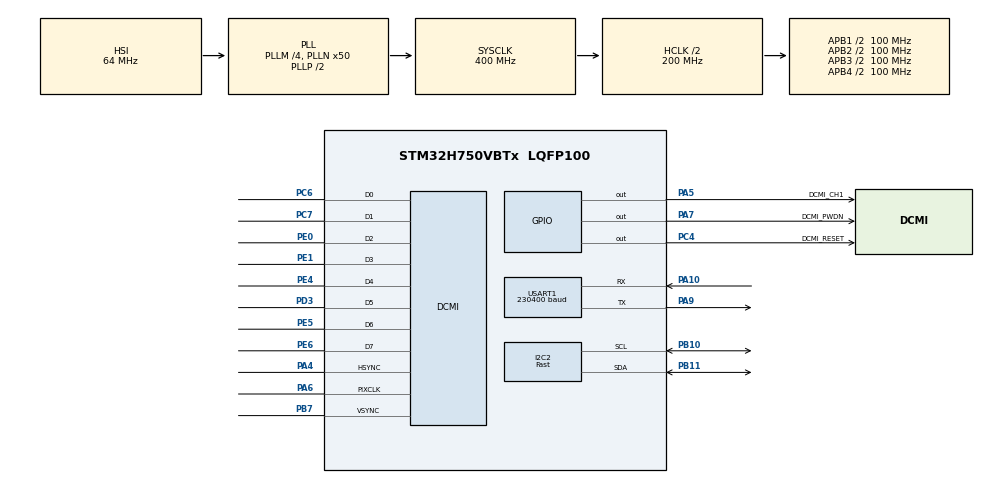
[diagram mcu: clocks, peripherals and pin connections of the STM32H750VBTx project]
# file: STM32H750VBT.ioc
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DCMI.JPEGMode=DCMI_JPEG_ENABLE
DCMI.PCKPolarity=DCMI_PCKPOLARITY_RISING
Dma.DCMI.0.Direction=DMA_PERIPH_TO_MEMORY
Dma.DCMI.0.EventEnable=DISABLE
Dma.DCMI.0.FIFOMode=DMA_FIFOMODE_ENABLE
Dma.DCMI.0.FIFOThreshold=DMA_FIFO_THRESHOLD_FULL
Dma.DCMI.0.Instance=DMA1_Stream0
Dma.DCMI.0.MemBurst=DMA_MBURST_SINGLE
Dma.DCMI.0.MemDataAlignment=DMA_MDATAALIGN_WORD
Dma.DCMI.0.MemInc=DMA_MINC_ENABLE
Dma.DCMI.0.Mode=DMA_CIRCULAR
Dma.DCMI.0.PeriphBurst=DMA_PBURST_SINGLE
Dma.DCMI.0.PeriphDataAlignment=DMA_PDATAALIGN_WORD
Dma.DCMI.0.PeriphInc=DMA_PINC_DISABLE
Dma.DCMI.0.Polarity=HAL_DMAMUX_REQ_GEN_RISING
Dma.DCMI.0.Priority=DMA_PRIORITY_VERY_HIGH
Dma.DCMI.0.RequestNumber=1
Dma.DCMI.0.SignalID=NONE
Dma.DCMI.0.SyncEnable=DISABLE
Dma.DCMI.0.SyncPolarity=HAL_DMAMUX_SYNC_NO_EVENT
Dma.DCMI.0.SyncRequestNumber=1
Dma.DCMI.0.SyncSignalID=NONE
Dma.Request0=DCMI
Dma.Request1=USART1_TX
Dma.USART1_TX.1.Direction=DMA_MEMORY_TO_PERIPH
Dma.USART1_TX.1.EventEnable=DISABLE
Dma.USART1_TX.1.FIFOMode=DMA_FIFOMODE_DISABLE
Dma.USART1_TX.1.Instance=DMA1_Stream1
Dma.USART1_TX.1.MemDataAlignment=DMA_MDATAALIGN_BYTE
Dma.USART1_TX.1.MemInc=DMA_MINC_ENABLE
Dma.USART1_TX.1.Mode=DMA_NORMAL
Dma.USART1_TX.1.PeriphDataAlignment=DMA_PDATAALIGN_BYTE
Dma.USART1_TX.1.PeriphInc=DMA_PINC_DISABLE
Dma.USART1_TX.1.Polarity=HAL_DMAMUX_REQ_GEN_RISING
Dma.USART1_TX.1.Priority=DMA_PRIORITY_HIGH
Dma.USART1_TX.1.RequestNumber=1
Dma.USART1_TX.1.SignalID=NONE
Dma.USART1_TX.1.SyncEnable=DISABLE
Dma.USART1_TX.1.SyncPolarity=HAL_DMAMUX_SYNC_NO_EVENT
Dma.USART1_TX.1.SyncRequestNumber=1
Dma.USART1_TX.1.SyncSignalID=NONE
I2C2.I2C_Speed_Mode=I2C_Fast
I2C2.Timing=0x009034B6
Mcu.Family=STM32H7
Mcu.Name=STM32H750VBTx
Mcu.Package=LQFP100
NVIC.DCMI_IRQn=true\:0\:0\:false\:false\:true\:true\:true
NVIC.DMA1_Stream0_IRQn=true\:0\:0\:false\:false\:true\:false\:true
NVIC.DMA1_Stream1_IRQn=true\:0\:0\:false\:false\:true\:false\:true
NVIC.PriorityGroup=NVIC_PRIORITYGROUP_4
PA10.Mode=Asynchronous
PA10.Signal=USART1_RX
PA13\ (JTMS/SWDIO).Mode=Serial_Wire
PA13\ (JTMS/SWDIO).Signal=DEBUG_JTMS-SWDIO
PA14\ (JTCK/SWCLK).Mode=Serial_Wire
PA14\ (JTCK/SWCLK).Signal=DEBUG_JTCK-SWCLK
PA4.Mode=Slave_8_bits_External_Synchro
PA4.Signal=DCMI_HSYNC
PA5.GPIO_Label=DCMI_CH1
PA5.Signal=GPIO_Output
PA6.Mode=Slave_8_bits_External_Synchro
PA6.Signal=DCMI_PIXCLK
PA7.GPIO_Label=DCMI_PWDN
PA7.Signal=GPIO_Output
PA9.Mode=Asynchronous
PA9.Signal=USART1_TX
PB10.Mode=I2C
PB10.Signal=I2C2_SCL
PB11.Mode=I2C
PB11.Signal=I2C2_SDA
PB7.Mode=Slave_8_bits_External_Synchro
PB7.Signal=DCMI_VSYNC
PC14-OSC32_IN\ (OSC32_IN).Mode=LSE-External-Oscillator
PC14-OSC32_IN\ (OSC32_IN).Signal=RCC_OSC32_IN
PC15-OSC32_OUT\ (OSC32_OUT).Mode=LSE-External-Oscillator
PC15-OSC32_OUT\ (OSC32_OUT).Signal=RCC_OSC32_OUT
PC4.GPIO_Label=DCMI_RESET
PC4.Signal=GPIO_Output
PC6.Mode=Slave_8_bits_External_Synchro
PC6.Signal=DCMI_D0
PC7.Mode=Slave_8_bits_External_Synchro
PC7.Signal=DCMI_D1
PD3.Mode=Slave_8_bits_External_Synchro
PD3.Signal=DCMI_D5
PE0.Mode=Slave_8_bits_External_Synchro
PE0.Signal=DCMI_D2
PE1.Mode=Slave_8_bits_External_Synchro
PE1.Signal=DCMI_D3
PE4.Mode=Slave_8_bits_External_Synchro
PE4.Signal=DCMI_D4
PE5.Mode=Slave_8_bits_External_Synchro
PE5.Signal=DCMI_D6
PE6.Mode=Slave_8_bits_External_Synchro
PE6.Signal=DCMI_D7
PH0-OSC_IN\ (PH0).Mode=HSE-External-Oscillator
PH0-OSC_IN\ (PH0).Signal=RCC_OSC_IN
PH1-OSC_OUT\ (PH1).Mode=HSE-External-Oscillator
PH1-OSC_OUT\ (PH1).Signal=RCC_OSC_OUT
ProjectManager.HeapSize=0x2000
ProjectManager.StackSize=0x2000
ProjectManager.TargetToolchain=MDK-ARM V5.32
RCC.ADCFreq_Value=129000000
RCC.APB1Freq_Value=100000000
RCC.APB2Freq_Value=100000000
RCC.APB3Freq_Value=100000000
RCC.APB4Freq_Value=100000000
RCC.CortexFreq_Value=400000000
RCC.D1PPRE=RCC_APB3_DIV2
RCC.D2PPRE1=RCC_APB1_DIV2
RCC.D2PPRE2=RCC_APB2_DIV2
RCC.D3PPRE=RCC_APB4_DIV2
RCC.DIVM1=4
RCC.DIVN1=50
RCC.HCLKFreq_Value=200000000
RCC.HPRE=RCC_HCLK_DIV2
RCC.PLL2FRACN=0
RCC.PLL3FRACN=0
RCC.PLLFRACN=0
RCC.PWR_Regulator_Voltage_Scale=PWR_REGULATOR_VOLTAGE_SCALE1
RCC.ProductRev=revV
RCC.RCC_MCO1Source=RCC_MCO1SOURCE_HSI48
RCC.RCC_MCODiv1=RCC_MCODIV_2
RCC.SYSCLKFreq_VALUE=400000000
RCC.SYSCLKSource=RCC_SYSCLKSOURCE_PLLCLK
RCC.USBFreq_Value=400000000
USART1.BaudRate=230400
USART1.FIFOMode=FIFOMODE_DISABLE
USART1.VirtualMode-Asynchronous=VM_ASYNC
board=custom

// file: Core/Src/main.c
/* USER CODE BEGIN Header */
/**
 ******************************************************************************
 * @file           : main.c
 * @brief          : Main program body
 ******************************************************************************
 * @attention
 *
 * Copyright (c) 2021 STMicroelectronics.
 * All rights reserved.
 *
 * This software is licensed under terms that can be found in the LICENSE file
 * in the root directory of this software component.
 * If no LICENSE file comes with this software, it is provided AS-IS.
 *
 ******************************************************************************
 */
/* USER CODE END Header */
#include "main.h"
#include "dcmi.h"
#include "dma.h"
#include "i2c.h"
#include "usart.h"
#include "gpio.h"

/* USER CODE BEGIN Includes */
#include "OV2640.h"
#include <stdio.h>

/* USER CODE END Includes */

void SystemClock_Config(void);

int main(void)
{

  /* MCU Configuration--------------------------------------------------------*/

  /* Reset of all peripherals, Initializes the Flash interface and the Systick. */
  HAL_Init();

  /* Configure the system clock */
  SystemClock_Config();

  /* Initialize all configured peripherals */
  MX_GPIO_Init();
  MX_DMA_Init();
  MX_DCMI_Init();
  MX_I2C2_Init();
  MX_USART1_UART_Init();
  /* USER CODE BEGIN 2 */
    uint8_t a[1];
    printf("Input a.\r\n");
    scanf("%c", a);
    if (a[0] == 'a')
        printf("Hello World!\r\n");

		HAL_GPIO_WritePin(DCMI_PWDN_GPIO_Port, DCMI_PWDN_Pin, GPIO_PIN_RESET);
    HAL_GPIO_WritePin(DCMI_RESET_GPIO_Port, DCMI_RESET_Pin, GPIO_PIN_RESET);
    HAL_Delay(10);
    HAL_GPIO_WritePin(DCMI_RESET_GPIO_Port, DCMI_RESET_Pin, GPIO_PIN_SET);
    HAL_Delay(40);
    OV2640_Init(&hi2c2, &hdcmi, &huart1);
    HAL_Delay(2000);

    uint8_t RBuffer[1] = {0};
    HAL_I2C_Mem_Read(&hi2c2, 0x60, 0x0A, 1, RBuffer, 1, 100);
    printf("%x\r\n", RBuffer[0]);

    StartOV2640();
  /* USER CODE END 2 */

  /* Infinite loop */
    while (1)
    {

    }
}

void SystemClock_Config(void)
{
  RCC_OscInitTypeDef RCC_OscInitStruct = {0};
  RCC_ClkInitTypeDef RCC_ClkInitStruct = {0};

  /** Supply configuration update enable
  */
  HAL_PWREx_ConfigSupply(PWR_LDO_SUPPLY);
  /** Configure the main internal regulator output voltage
  */
  __HAL_PWR_VOLTAGESCALING_CONFIG(PWR_REGULATOR_VOLTAGE_SCALE1);

  while(!__HAL_PWR_GET_FLAG(PWR_FLAG_VOSRDY)) {}
  /** Initializes the RCC Oscillators according to the specified parameters
  * in the RCC_OscInitTypeDef structure.
  */
  RCC_OscInitStruct.OscillatorType = RCC_OSCILLATORTYPE_HSI;
  RCC_OscInitStruct.HSIState = RCC_HSI_DIV1;
  RCC_OscInitStruct.HSICalibrationValue = RCC_HSICALIBRATION_DEFAULT;
  RCC_OscInitStruct.PLL.PLLState = RCC_PLL_ON;
  RCC_OscInitStruct.PLL.PLLSource = RCC_PLLSOURCE_HSI;
  RCC_OscInitStruct.PLL.PLLM = 4;
  RCC_OscInitStruct.PLL.PLLN = 50;
  RCC_OscInitStruct.PLL.PLLP = 2;
  RCC_OscInitStruct.PLL.PLLQ = 2;
  RCC_OscInitStruct.PLL.PLLR = 2;
  RCC_OscInitStruct.PLL.PLLRGE = RCC_PLL1VCIRANGE_3;
  RCC_OscInitStruct.PLL.PLLVCOSEL = RCC_PLL1VCOWIDE;
  RCC_OscInitStruct.PLL.PLLFRACN = 0;
  if (HAL_RCC_OscConfig(&RCC_OscInitStruct) != HAL_OK)
  {
    Error_Handler();
  }
  /** Initializes the CPU, AHB and APB buses clocks
  */
  RCC_ClkInitStruct.ClockType = RCC_CLOCKTYPE_HCLK|RCC_CLOCKTYPE_SYSCLK
                              |RCC_CLOCKTYPE_PCLK1|RCC_CLOCKTYPE_PCLK2
                              |RCC_CLOCKTYPE_D3PCLK1|RCC_CLOCKTYPE_D1PCLK1;
  RCC_ClkInitStruct.SYSCLKSource = RCC_SYSCLKSOURCE_PLLCLK;
  RCC_ClkInitStruct.SYSCLKDivider = RCC_SYSCLK_DIV1;
  RCC_ClkInitStruct.AHBCLKDivider = RCC_HCLK_DIV2;
  RCC_ClkInitStruct.APB3CLKDivider = RCC_APB3_DIV2;
  RCC_ClkInitStruct.APB1CLKDivider = RCC_APB1_DIV2;
  RCC_ClkInitStruct.APB2CLKDivider = RCC_APB2_DIV2;
  RCC_ClkInitStruct.APB4CLKDivider = RCC_APB4_DIV2;

  if (HAL_RCC_ClockConfig(&RCC_ClkInitStruct, FLASH_LATENCY_2) != HAL_OK)
  {
    Error_Handler();
  }
}

/* USER CODE BEGIN 4 */

int fputc(int ch, FILE *f)
{
    HAL_UART_Transmit(&huart1, (uint8_t *)&ch, 1, 0xffff);
    return ch;
}

int fgetc(FILE *f)
{
    uint8_t ch = 0;
    HAL_UART_Receive(&huart1, &ch, 1, 0xffff);
    return ch;
}

/* USER CODE END 4 */

void Error_Handler(void)
{
    __disable_irq();
    while (1)
    {
    }
}
